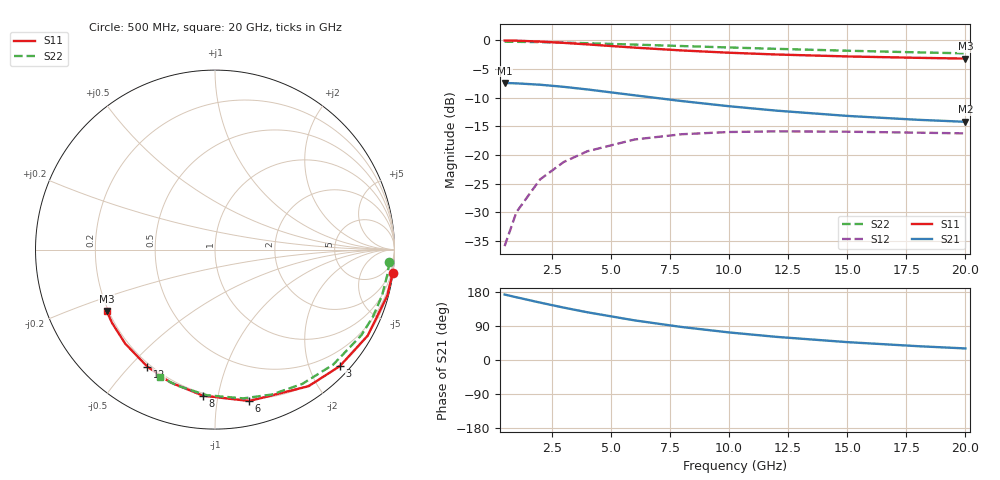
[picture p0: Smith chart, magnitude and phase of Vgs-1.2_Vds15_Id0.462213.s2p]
# Hz S RI R 50
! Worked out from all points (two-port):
!   12 points, 500 MHz to 20 GHz, reference 50 ohm
!   highest |S21| = -7.43 dB at 500 MHz (marker M1); lowest = -14.2 dB at 20 GHz (marker M2)
!   |S21| within 3 dB of the highest: start of sweep to 7.692 GHz
!   lowest |S11| = -3.2 dB at 20 GHz (marker M3), VSWR 5.53, Z = 9.64 - j12.7 ohm
!   |S11| at or under -10 dB: nowhere
!   |S22| runs from -2.3 to -0.2 dB; largest |S21 - S12| = 0.42
!   S11 on the Smith chart (normalised r, x): 500 MHz: 0, -15; 3 GHz: 0.18, -2.52; 6 GHz: 0.18, -1.24; 8 GHz: 0.18, -0.90; 12 GHz: 0.19, -0.56; 20 GHz: 0.19, -0.25
5e8  0.9899 -0.1304  -0.4218 0.0537  0.00152 0.016  0.9707 -0.0665
1e9  0.9602 -0.2563  -0.4087 0.1054  0.00598 0.0312  0.9623 -0.1323
2e9  0.8506 -0.4796  -0.3608 0.1958  0.0223 0.0571  0.9299 -0.2588
3e9  0.6954 -0.6493  -0.2936 0.2619  0.0448 0.0745  0.8794 -0.3747
4e9  0.5212 -0.7612  -0.2193 0.3022  0.0693 0.0827  0.8147 -0.4779
6e9  0.1911 -0.8435  -0.0834 0.3214  0.1119 0.0785  0.6588 -0.6404
8e9  -0.0662 -0.8142  0.0154 0.2953  0.1395 0.0602  0.4868 -0.748
1e10  -0.2494 -0.7395  0.079 0.2546  0.1539 0.0391  0.3163 -0.8074
1.2e10  -0.377 -0.652  0.118 0.2135  0.1597 0.02  0.1574 -0.8289
1.5e10  -0.5001 -0.524  0.1492 0.161  0.1598 -0.00254  -0.0492 -0.8111
1.8e10  -0.5728 -0.4098  0.1633 0.1205  0.1556 -0.0185  -0.2146 -0.7562
2e10  -0.6039 -0.3419  0.168 0.099  0.1522 -0.0266  -0.3038 -0.7083
